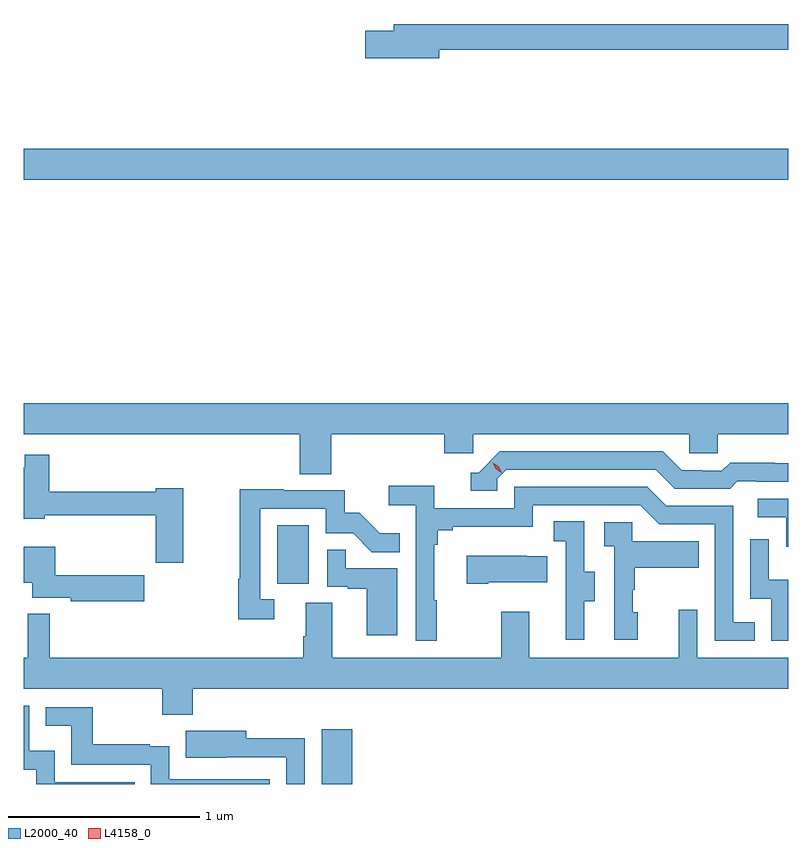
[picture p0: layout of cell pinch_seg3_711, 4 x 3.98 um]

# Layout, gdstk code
import gdstk
lib = gdstk.Library(unit=1e-6, precision=1e-09)
def R(c, l, rs):  # rectangles x0, y0, x1, y1
    for r in rs: c.add(gdstk.rectangle(r[:2], r[2:], *l))
def P(c, l, *ps):  # polygons
    for p in ps: c.add(gdstk.Polygon(p, *l))
L2000_40 = (2000, 40)
L4158_0 = (4158, 0)

pinch_seg3_711 = lib.new_cell('pinch_seg3_711')
R(pinch_seg3_711, L2000_40, [(1114.601,683.102,1114.762,683.389), (1114.37,684.15,1114.534,684.457), (1113.043,686.264,1117.043,686.428)])
P(pinch_seg3_711, L2000_40, [(1115.218,686.944),(1117.043,686.944),(1117.043,687.08),(1114.979,687.08),(1114.979,687.044),(1114.83,687.044),(1114.83,686.902),(1115.218,686.902)],
  [(1114.652,684.932),(1115.243,684.932),(1115.243,684.834),(1115.394,684.834),(1115.394,684.932),(1116.525,684.932),(1116.525,684.834),(1116.675,684.834),(1116.675,684.932),(1117.043,684.932),(1117.043,685.096),(1113.043,685.096),(1113.043,684.932),(1114.487,684.932),(1114.487,684.724),(1114.652,684.724)],
  [(1115.52,684.699),(1115.568,684.747),(1116.351,684.747),(1116.45,684.648),(1116.739,684.648),(1116.778,684.687),(1116.877,684.687),(1116.877,684.684),(1117.043,684.684),(1117.043,684.781),(1116.972,684.781),(1116.972,684.784),(1116.739,684.784),(1116.697,684.741),(1116.594,684.741),(1116.594,684.744),(1116.487,684.744),(1116.388,684.843),(1115.535,684.843),(1115.424,684.732),(1115.381,684.732),(1115.381,684.636),(1115.52,684.636)],
  [(1113.876,684.649),(1113.734,684.649),(1113.734,684.631),(1113.176,684.631),(1113.176,684.826),(1113.048,684.826),(1113.048,684.76),(1113.043,684.76),(1113.043,684.491),(1113.153,684.491),(1113.153,684.51),(1113.734,684.51),(1113.734,684.261),(1113.876,684.261)],
  [(1115.203,684.065),(1115.191,684.065),(1115.191,684.353),(1115.21,684.353),(1115.21,684.43),(1115.287,684.43),(1115.287,684.449),(1115.706,684.449),(1115.706,684.561),(1116.27,684.561),(1116.369,684.462),(1116.66,684.462),(1116.66,683.853),(1116.869,683.853),(1116.869,683.949),(1116.756,683.949),(1116.756,684.558),(1116.406,684.558),(1116.307,684.657),(1115.61,684.657),(1115.61,684.546),(1115.192,684.546),(1115.192,684.662),(1114.953,684.662),(1114.953,684.56),(1115.094,684.56),(1115.094,683.853),(1115.203,683.853)],
  [(1114.354,684.069),(1114.281,684.069),(1114.281,684.543),(1114.623,684.543),(1114.623,684.414),(1114.767,684.414),(1114.865,684.316),(1115.009,684.316),(1115.009,684.415),(1114.905,684.415),(1114.798,684.522),(1114.722,684.522),(1114.722,684.639),(1114.403,684.639),(1114.403,684.644),(1114.173,684.644),(1114.173,684.176),(1114.165,684.176),(1114.165,683.964),(1114.354,683.964)],
  [(1117.043,684.594),(1116.885,684.594),(1116.885,684.498),(1117.032,684.498),(1117.032,684.345),(1117.043,684.345)],
  [(1115.977,684.058),(1116.031,684.058),(1116.031,684.213),(1115.976,684.213),(1115.976,684.476),(1115.817,684.476),(1115.817,684.373),(1115.88,684.373),(1115.88,684.069),(1115.879,684.069),(1115.879,683.856),(1115.977,683.856)],
  [(1116.256,684),(1116.231,684),(1116.231,684.119),(1116.241,684.119),(1116.241,684.233),(1116.575,684.233),(1116.575,684.373),(1116.228,684.373),(1116.228,684.471),(1116.081,684.471),(1116.081,684.347),(1116.132,684.347),(1116.132,683.856),(1116.256,683.856)],
  [(1117.043,684.17),(1116.942,684.17),(1116.942,684.382),(1116.846,684.382),(1116.846,684.072),(1116.954,684.072),(1116.954,683.853),(1117.043,683.853)],
  [(1113.673,684.195),(1113.208,684.195),(1113.208,684.343),(1113.043,684.343),(1113.043,684.155),(1113.086,684.155),(1113.086,684.077),(1113.288,684.077),(1113.288,684.058),(1113.673,684.058)],
  [(1114.996,684.231),(1114.727,684.231),(1114.727,684.329),(1114.632,684.329),(1114.632,684.135),(1114.739,684.135),(1114.739,684.123),(1114.838,684.123),(1114.838,683.88),(1114.996,683.88)],
  [(1115.473,684.158),(1115.783,684.158),(1115.783,684.295),(1115.675,684.295),(1115.675,684.298),(1115.361,684.298),(1115.361,684.151),(1115.473,684.151)],
  [(1113.926,683.6),(1117.043,683.6),(1117.043,683.764),(1116.567,683.764),(1116.567,684.013),(1116.47,684.013),(1116.47,683.764),(1115.689,683.764),(1115.689,684.004),(1115.542,684.004),(1115.542,683.764),(1114.657,683.764),(1114.657,684.05),(1114.517,684.05),(1114.517,683.876),(1114.505,683.876),(1114.505,683.764),(1113.179,683.764),(1113.179,683.992),(1113.062,683.992),(1113.062,683.764),(1113.043,683.764),(1113.043,683.6),(1113.766,683.6),(1113.766,683.465),(1113.926,683.465)],
  [(1113.623,683.112),(1113.204,683.112),(1113.204,683.275),(1113.072,683.275),(1113.072,683.511),(1113.043,683.511),(1113.043,683.177),(1113.108,683.177),(1113.108,683.102),(1113.623,683.102)],
  [(1114.33,683.127),(1113.804,683.127),(1113.804,683.299),(1113.701,683.299),(1113.701,683.311),(1113.403,683.311),(1113.403,683.505),(1113.157,683.505),(1113.157,683.408),(1113.292,683.408),(1113.292,683.202),(1113.708,683.202),(1113.708,683.102),(1114.33,683.102)],
  [(1114.512,683.342),(1114.207,683.342),(1114.207,683.38),(1113.889,683.38),(1113.889,683.24),(1114.103,683.24),(1114.103,683.241),(1114.416,683.241),(1114.416,683.102),(1114.512,683.102)])
P(pinch_seg3_711, L4158_0, [(1115.542,684.732),(1115.512,684.751),(1115.496,684.784),(1115.496,684.784),(1115.496,684.784),(1115.527,684.765),(1115.543,684.732),(1115.543,684.732)])

lib.write_gds('pinch_seg3_711.gds')
